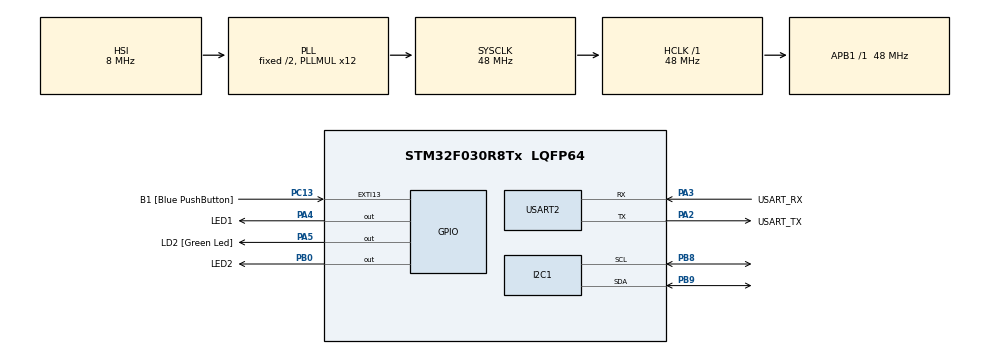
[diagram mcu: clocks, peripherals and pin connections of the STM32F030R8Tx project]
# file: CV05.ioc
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Dma.Request0=USART2_RX
Dma.USART2_RX.0.Direction=DMA_PERIPH_TO_MEMORY
Dma.USART2_RX.0.Instance=DMA1_Channel5
Dma.USART2_RX.0.MemDataAlignment=DMA_MDATAALIGN_BYTE
Dma.USART2_RX.0.MemInc=DMA_MINC_ENABLE
Dma.USART2_RX.0.Mode=DMA_CIRCULAR
Dma.USART2_RX.0.PeriphDataAlignment=DMA_PDATAALIGN_BYTE
Dma.USART2_RX.0.PeriphInc=DMA_PINC_DISABLE
Dma.USART2_RX.0.Priority=DMA_PRIORITY_LOW
Mcu.Family=STM32F0
Mcu.Name=STM32F030R8Tx
Mcu.Package=LQFP64
NVIC.DMA1_Channel4_5_IRQn=true\:0\:0\:false\:false\:true\:false\:true
PA13.GPIO_Label=TMS
PA13.Mode=Serial_Wire
PA13.Signal=SYS_SWDIO
PA14.GPIO_Label=TCK
PA14.Mode=Serial_Wire
PA14.Signal=SYS_SWCLK
PA2.GPIO_Label=USART_TX
PA2.GPIO_Mode=GPIO_MODE_AF_PP
PA2.GPIO_PuPd=GPIO_NOPULL
PA2.GPIO_Speed=GPIO_SPEED_FREQ_LOW
PA2.Mode=Asynchronous
PA2.Signal=USART2_TX
PA3.GPIO_Label=USART_RX
PA3.GPIO_Mode=GPIO_MODE_AF_PP
PA3.GPIO_PuPd=GPIO_NOPULL
PA3.GPIO_Speed=GPIO_SPEED_FREQ_LOW
PA3.Mode=Asynchronous
PA3.Signal=USART2_RX
PA4.GPIO_Label=LED1
PA4.Signal=GPIO_Output
PA5.GPIO_Label=LD2 [Green Led]
PA5.GPIO_Mode=GPIO_MODE_OUTPUT_PP
PA5.GPIO_PuPd=GPIO_NOPULL
PA5.GPIO_Speed=GPIO_SPEED_FREQ_LOW
PA5.Signal=GPIO_Output
PB0.GPIO_Label=LED2
PB0.Signal=GPIO_Output
PB8.Mode=I2C
PB8.Signal=I2C1_SCL
PB9.Mode=I2C
PB9.Signal=I2C1_SDA
PC13.GPIO_Label=B1 [Blue PushButton]
PC13.GPIO_ModeDefaultEXTI=GPIO_MODE_IT_FALLING
PC13.Signal=GPXTI13
PC14-OSC32_IN.Mode=LSE-External-Oscillator
PC14-OSC32_IN.Signal=RCC_OSC32_IN
PC15-OSC32_OUT.Mode=LSE-External-Oscillator
PC15-OSC32_OUT.Signal=RCC_OSC32_OUT
PF0-OSC_IN.Mode=HSE-External-Clock-Source
PF0-OSC_IN.Signal=RCC_OSC_IN
PF1-OSC_OUT.Signal=RCC_OSC_OUT
ProjectManager.HeapSize=0x200
ProjectManager.StackSize=0x400
ProjectManager.TargetToolchain=STM32CubeIDE
RCC.AHBFreq_Value=48000000
RCC.APB1Freq_Value=48000000
RCC.APB1TimFreq_Value=48000000
RCC.HCLKFreq_Value=48000000
RCC.PLLMUL=RCC_PLL_MUL12
RCC.SYSCLKFreq_VALUE=48000000
RCC.SYSCLKSource=RCC_SYSCLKSOURCE_PLLCLK
USART2.VirtualMode-Asynchronous=VM_ASYNC
board=NUCLEO-F030R8

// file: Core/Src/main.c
/* USER CODE BEGIN Header */
/**
  ******************************************************************************
  * @file           : main.c
  * @brief          : Main program body
  ******************************************************************************
  * @attention
  *
  * <h2><center>&copy; Copyright (c) 2020 STMicroelectronics.
  * All rights reserved.</center></h2>
  *
  * This software component is licensed by ST under BSD 3-Clause license,
  * the "License"; You may not use this file except in compliance with the
  * License. You may obtain a copy of the License at:
  *                        opensource.org/licenses/BSD-3-Clause
  *
  ******************************************************************************
  */
/* USER CODE END Header */
#include "main.h"

/* USER CODE BEGIN Includes */

#include <stdio.h>
#include <string.h>

/* USER CODE END Includes */

I2C_HandleTypeDef hi2c1;

UART_HandleTypeDef huart2;
DMA_HandleTypeDef hdma_usart2_rx;

/* USER CODE BEGIN PV */
#define CMD_BUFFER_LEN 64
#define RX_BUFFER_LEN 64
#define EEPROM_ADDR 0xA0

static uint8_t uart_rx_buf[RX_BUFFER_LEN];
static volatile uint16_t uart_rx_read_ptr = 0;
#define uart_rx_write_ptr (RX_BUFFER_LEN - hdma_usart2_rx.Instance->CNDTR)

/* USER CODE END PV */

void SystemClock_Config(void);
static void MX_GPIO_Init(void);
static void MX_DMA_Init(void);
static void MX_USART2_UART_Init(void);
static void MX_I2C1_Init(void);
/* USER CODE BEGIN PFP */

static void uart_process_command(char *cmd)
{
	//printf("Prijato: '%s' \n ",cmd);
	char *token;
	token = strtok(cmd, " ");

	if (strcasecmp(token, "HELLO") == 0)		//pokud napiseme "HELLO"
	{
		printf("Komunikace OK\n");
	}

	//_____________________________________________

	else if (strcasecmp(token, "LED1") == 0)		//pokud napiseme "LED1"
	{
		token = strtok(NULL, " ");

		if (strcasecmp(token, "ON") == 0)  HAL_GPIO_WritePin(LED1_GPIO_Port, LED1_Pin, GPIO_PIN_SET);

		else if (strcasecmp(token, "OFF") ==0)  HAL_GPIO_WritePin(LED1_GPIO_Port, LED1_Pin, GPIO_PIN_RESET);
		printf("OK\n");
	}

	//_____________________________________________

	else if (strcasecmp(token, "LED2") == 0) 			//pokud napiseme "LED2"
		{
			token = strtok(NULL, " ");

			if (strcasecmp(token, "ON") == 0)  HAL_GPIO_WritePin(LED2_GPIO_Port, LED2_Pin, GPIO_PIN_SET);

			else if (strcasecmp(token, "OFF") == 0)  HAL_GPIO_WritePin(LED2_GPIO_Port, LED2_Pin, GPIO_PIN_RESET);
			printf("OK\n");
		}

	//_____________________________________________

	else if (strcasecmp(token, "STATUS") == 0) 			//pokud napiseme "STATUS"
	{

		int state_led1 = HAL_GPIO_ReadPin(LED1_GPIO_Port, LED1_Pin); 		//nacti set/reset hodnotu pinu
		if (state_led1 == 0)
			printf("LED1 OFF\n");
		else if (state_led1 == 1)
			printf("LED1 ON\n");

		int state_led2 = HAL_GPIO_ReadPin(LED2_GPIO_Port, LED2_Pin);
		if (state_led2 == 0)
			printf("LED2 OFF\n");
		else if (state_led2 == 1)
			printf("LED2 ON\n");

	}
	//_____________________________________________

	else if (strcasecmp(token, "READ") == 0) 			//pokud napiseme "READ" precte z adresy ulozenou hodnotu
		{
		token = strtok(NULL, " ");
		uint16_t adr = atoi(token);
		uint8_t value ;

		HAL_I2C_Mem_Read(&hi2c1, EEPROM_ADDR, adr, I2C_MEMADD_SIZE_16BIT, &value, 1, 1000);
		printf("Adresa 0x%04X = 0x%02X\n ", adr, value);

		}

	else if (strcasecmp(token, "WRITE") == 0) 			//pokud napiseme "WRITE" zapise do pameti na urcitou adresu urcitou hodnotu
		{
		token = strtok(NULL, " ");
		uint16_t adr = atoi(token);
		token = strtok(NULL, " ");
		uint8_t value = atoi(token);

		HAL_I2C_Mem_Write(&hi2c1, EEPROM_ADDR, adr, I2C_MEMADD_SIZE_16BIT, &value, 1, 1000);
		/* Check if the EEPROM is ready for a new operation */
			while (HAL_I2C_IsDeviceReady(&hi2c1, EEPROM_ADDR, 300, 1000) == HAL_TIMEOUT)
			{}

		}

	else if (strcasecmp(token, "DUMP") == 0) 			//pokud napiseme "DUMP"
			{
			uint16_t memory[16];
			uint8_t i;

			for (i = 0; i < 16; i++) 	//naplni pole memory postupne hodnotami a zaroven kazdou adresu vypise
				{
				HAL_I2C_Mem_Read(&hi2c1, EEPROM_ADDR, i, I2C_MEMADD_SIZE_16BIT, &memory[i], 16, 1000);
				printf( "0x%02X\n", memory[i]);
				}
			}

	else
	{
		printf("Neznamy prikaz\n");
	}
		//else if (strcasecmp...

}

int _write(int file, char const *buf, int n)
{
	/* stdout redirection to UART2 */
	HAL_UART_Transmit(&huart2, (uint8_t*) (buf), n, HAL_MAX_DELAY);
	return n;
}

static void uart_byte_available(uint8_t c)
{
	static uint16_t cnt;
	static char data[CMD_BUFFER_LEN];

	if (cnt < CMD_BUFFER_LEN && c >= 32 && c <= 126)
		data[cnt++] = c;
	if ((c == '\n' || c == '\r') && cnt > 0)
	{
		data[cnt] = '\0';
		uart_process_command(data);
		cnt = 0;
	}
}

/* USER CODE END PFP */

int main(void)
{

  /* MCU Configuration--------------------------------------------------------*/

  /* Reset of all peripherals, Initializes the Flash interface and the Systick. */
  HAL_Init();

  /* Configure the system clock */
  SystemClock_Config();

  /* Initialize all configured peripherals */
  MX_GPIO_Init();
  MX_DMA_Init();
  MX_USART2_UART_Init();
  MX_I2C1_Init();
  /* USER CODE BEGIN 2 */

  HAL_UART_Receive_DMA(&huart2, uart_rx_buf, RX_BUFFER_LEN);

  /* USER CODE END 2 */

  /* Infinite loop */
  while (1)
  {

    /* USER CODE BEGIN 3 */

/*	 uint8_t c; 										//kod, kdy vse co posilame do kitu se vraci zpet
	 HAL_UART_Receive(&huart2, &c, 1, HAL_MAX_DELAY);
	 HAL_UART_Transmit(&huart2, &c, 1, HAL_MAX_DELAY);
*/

	  while (uart_rx_read_ptr != uart_rx_write_ptr)
	  {
		  uint8_t b = uart_rx_buf[uart_rx_read_ptr];
		  if (++uart_rx_read_ptr >= RX_BUFFER_LEN)
			  uart_rx_read_ptr = 0; 					// increase read pointer
		  uart_byte_available(b);						// process every received byte with the RX state machine
	  }

  }
  /* USER CODE END 3 */
}

void SystemClock_Config(void)
{
  RCC_OscInitTypeDef RCC_OscInitStruct = {0};
  RCC_ClkInitTypeDef RCC_ClkInitStruct = {0};
  RCC_PeriphCLKInitTypeDef PeriphClkInit = {0};

  /** Initializes the RCC Oscillators according to the specified parameters
  * in the RCC_OscInitTypeDef structure.
  */
  RCC_OscInitStruct.OscillatorType = RCC_OSCILLATORTYPE_HSI;
  RCC_OscInitStruct.HSIState = RCC_HSI_ON;
  RCC_OscInitStruct.HSICalibrationValue = RCC_HSICALIBRATION_DEFAULT;
  RCC_OscInitStruct.PLL.PLLState = RCC_PLL_ON;
  RCC_OscInitStruct.PLL.PLLSource = RCC_PLLSOURCE_HSI;
  RCC_OscInitStruct.PLL.PLLMUL = RCC_PLL_MUL12;
  RCC_OscInitStruct.PLL.PREDIV = RCC_PREDIV_DIV1;
  if (HAL_RCC_OscConfig(&RCC_OscInitStruct) != HAL_OK)
  {
    Error_Handler();
  }
  /** Initializes the CPU, AHB and APB buses clocks
  */
  RCC_ClkInitStruct.ClockType = RCC_CLOCKTYPE_HCLK|RCC_CLOCKTYPE_SYSCLK
                              |RCC_CLOCKTYPE_PCLK1;
  RCC_ClkInitStruct.SYSCLKSource = RCC_SYSCLKSOURCE_PLLCLK;
  RCC_ClkInitStruct.AHBCLKDivider = RCC_SYSCLK_DIV1;
  RCC_ClkInitStruct.APB1CLKDivider = RCC_HCLK_DIV1;

  if (HAL_RCC_ClockConfig(&RCC_ClkInitStruct, FLASH_LATENCY_1) != HAL_OK)
  {
    Error_Handler();
  }
  PeriphClkInit.PeriphClockSelection = RCC_PERIPHCLK_I2C1;
  PeriphClkInit.I2c1ClockSelection = RCC_I2C1CLKSOURCE_HSI;
  if (HAL_RCCEx_PeriphCLKConfig(&PeriphClkInit) != HAL_OK)
  {
    Error_Handler();
  }
}

static void MX_I2C1_Init(void)
{

  hi2c1.Instance = I2C1;
  hi2c1.Init.Timing = 0x2000090E;
  hi2c1.Init.OwnAddress1 = 0;
  hi2c1.Init.AddressingMode = I2C_ADDRESSINGMODE_7BIT;
  hi2c1.Init.DualAddressMode = I2C_DUALADDRESS_DISABLE;
  hi2c1.Init.OwnAddress2 = 0;
  hi2c1.Init.OwnAddress2Masks = I2C_OA2_NOMASK;
  hi2c1.Init.GeneralCallMode = I2C_GENERALCALL_DISABLE;
  hi2c1.Init.NoStretchMode = I2C_NOSTRETCH_DISABLE;
  if (HAL_I2C_Init(&hi2c1) != HAL_OK)
  {
    Error_Handler();
  }
  /** Configure Analogue filter
  */
  if (HAL_I2CEx_ConfigAnalogFilter(&hi2c1, I2C_ANALOGFILTER_ENABLE) != HAL_OK)
  {
    Error_Handler();
  }
  /** Configure Digital filter
  */
  if (HAL_I2CEx_ConfigDigitalFilter(&hi2c1, 0) != HAL_OK)
  {
    Error_Handler();
  }

}

static void MX_USART2_UART_Init(void)
{

  huart2.Instance = USART2;
  huart2.Init.BaudRate = 38400;
  huart2.Init.WordLength = UART_WORDLENGTH_8B;
  huart2.Init.StopBits = UART_STOPBITS_1;
  huart2.Init.Parity = UART_PARITY_NONE;
  huart2.Init.Mode = UART_MODE_TX_RX;
  huart2.Init.HwFlowCtl = UART_HWCONTROL_NONE;
  huart2.Init.OverSampling = UART_OVERSAMPLING_16;
  huart2.Init.OneBitSampling = UART_ONE_BIT_SAMPLE_DISABLE;
  huart2.AdvancedInit.AdvFeatureInit = UART_ADVFEATURE_NO_INIT;
  if (HAL_UART_Init(&huart2) != HAL_OK)
  {
    Error_Handler();
  }

}

static void MX_DMA_Init(void)
{

  /* DMA controller clock enable */
  __HAL_RCC_DMA1_CLK_ENABLE();

  /* DMA interrupt init */
  /* DMA1_Channel4_5_IRQn interrupt configuration */
  HAL_NVIC_SetPriority(DMA1_Channel4_5_IRQn, 0, 0);
  HAL_NVIC_EnableIRQ(DMA1_Channel4_5_IRQn);

}

static void MX_GPIO_Init(void)
{
  GPIO_InitTypeDef GPIO_InitStruct = {0};

  /* GPIO Ports Clock Enable */
  __HAL_RCC_GPIOC_CLK_ENABLE();
  __HAL_RCC_GPIOF_CLK_ENABLE();
  __HAL_RCC_GPIOA_CLK_ENABLE();
  __HAL_RCC_GPIOB_CLK_ENABLE();

  /*Configure GPIO pin Output Level */
  HAL_GPIO_WritePin(GPIOA, LED1_Pin|LD2_Pin, GPIO_PIN_RESET);

  /*Configure GPIO pin Output Level */
  HAL_GPIO_WritePin(LED2_GPIO_Port, LED2_Pin, GPIO_PIN_RESET);

  /*Configure GPIO pin : B1_Pin */
  GPIO_InitStruct.Pin = B1_Pin;
  GPIO_InitStruct.Mode = GPIO_MODE_IT_FALLING;
  GPIO_InitStruct.Pull = GPIO_NOPULL;
  HAL_GPIO_Init(B1_GPIO_Port, &GPIO_InitStruct);

  /*Configure GPIO pins : LED1_Pin LD2_Pin */
  GPIO_InitStruct.Pin = LED1_Pin|LD2_Pin;
  GPIO_InitStruct.Mode = GPIO_MODE_OUTPUT_PP;
  GPIO_InitStruct.Pull = GPIO_NOPULL;
  GPIO_InitStruct.Speed = GPIO_SPEED_FREQ_LOW;
  HAL_GPIO_Init(GPIOA, &GPIO_InitStruct);

  /*Configure GPIO pin : LED2_Pin */
  GPIO_InitStruct.Pin = LED2_Pin;
  GPIO_InitStruct.Mode = GPIO_MODE_OUTPUT_PP;
  GPIO_InitStruct.Pull = GPIO_NOPULL;
  GPIO_InitStruct.Speed = GPIO_SPEED_FREQ_LOW;
  HAL_GPIO_Init(LED2_GPIO_Port, &GPIO_InitStruct);

}

void Error_Handler(void)
{
}

/************************ (C) COPYRIGHT STMicroelectronics *****END OF FILE****/
